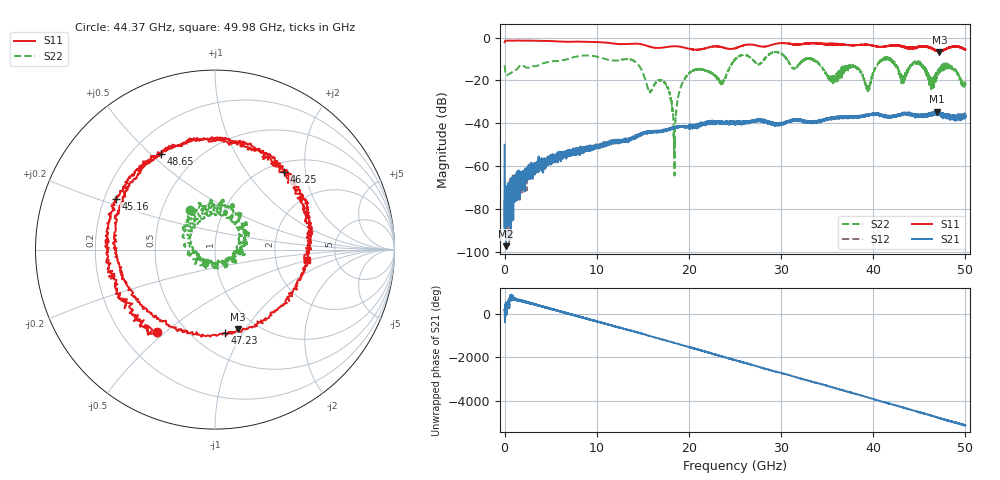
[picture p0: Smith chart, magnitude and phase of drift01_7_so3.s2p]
!Created with skrf (http://scikit-rf.org).
# Hz S RI R 50.0
!freq ReS11 ImS11 ReS21 ImS21 ReS12 ImS12 ReS22 ImS22
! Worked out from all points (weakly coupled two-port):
!   10001 points, 300 kHz to 50 GHz, reference 50 ohm
!   highest |S21| = -34.45 dB at 46.9 GHz (marker M1); lowest = -97.1 dB at 145.3 MHz (marker M2)
!   lowest |S11| = -6.7 dB at 47.18 GHz (marker M3), VSWR 2.72, Z = 41 - j46.4 ohm
!   |S11| at or under -10 dB: nowhere
!   |S22| runs from -64.2 to -6.6 dB; largest |S21 - S12| = 0.0038
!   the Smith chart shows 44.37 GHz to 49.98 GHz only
!   S11 on the Smith chart (normalised r, x): 44.37 GHz: 0.35, -0.47; 45.16 GHz: 0.25, +0.22; 46.25 GHz: 1.18, +1.53; 47.23 GHz: 0.70, -0.84; 48.65 GHz: 0.31, +0.54; 49.98 GHz: 3.07, -0.47
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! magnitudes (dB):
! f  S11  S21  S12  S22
! 300 kHz  -2.2  -49.9  -66.0  -12.9
! 145.3 MHz  -1.5  -97.1  -78.1  -17.3
! 8.335 GHz  -1.9  -52.8  -52.9  -8.5
! 16.67 GHz  -4.8  -43.7  -43.7  -20.0
! 17.74 GHz  -4.3  -42.8  -42.7  -23.6
! 18.42 GHz  -4.1  -41.6  -41.9  -52.2
! 19.89 GHz  -5.1  -41.7  -41.4  -17.1
! 23.59 GHz  -4.5  -40.3  -39.3  -20.4
! 25 GHz  -5.0  -39.2  -39.6  -10.3
! 33.34 GHz  -2.6  -39.4  -39.6  -9.9
! 39.37 GHz  -3.4  -36.0  -36.1  -23.5
! 41.67 GHz  -3.9  -36.6  -36.5  -10.0
! 43.17 GHz  -4.2  -35.8  -35.7  -18.6
! 44.37 GHz  -5.0  -35.9  -35.8  -11.7
! 45.16 GHz  -4.1  -36.3  -36.4  -12.6
! 46.25 GHz  -4.8  -35.9  -35.7  -21.3
! 46.9 GHz  -6.0  -34.5  -34.9  -17.7
! 47.18 GHz  -6.7  -35.0  -35.4  -14.2
! 47.23 GHz  -6.6  -35.7  -36.0  -15.1
! 48.65 GHz  -4.2  -37.3  -37.3  -14.6
! 49.98 GHz  -5.7  -35.7  -36.4  -21.4
! 50 GHz  -5.6  -36.6  -36.7  -21.6
